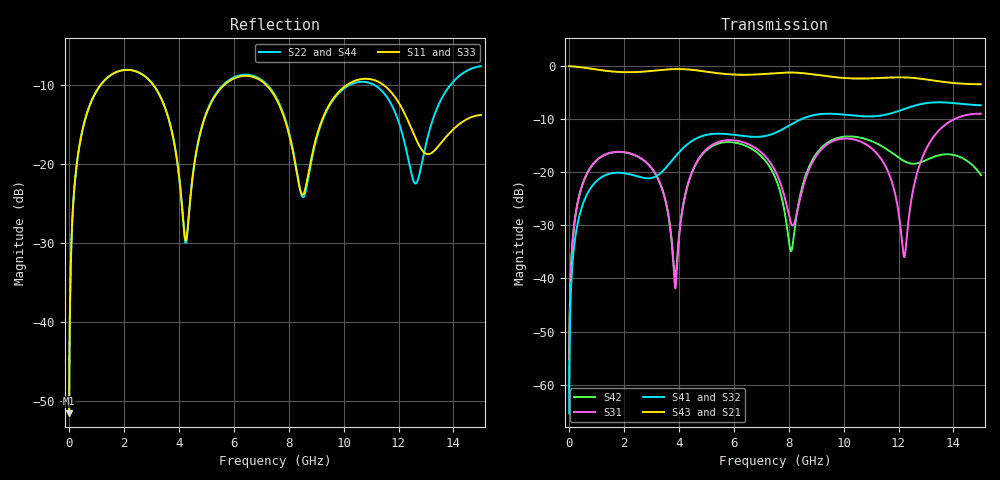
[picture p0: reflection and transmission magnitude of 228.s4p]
! Created with skrf 1.8.0 (http://scikit-rf.org).
# GHz S RI R 50.0
!freq ReS11 ImS11 ReS12 ImS12 ReS13 ImS13
! ReS14 ImS14
! ReS21 ImS21 ReS22 ImS22 ReS23 ImS23
! ReS24 ImS24
! ReS31 ImS31 ReS32 ImS32 ReS33 ImS33
! ReS34 ImS34
! ReS41 ImS41 ReS42 ImS42 ReS43 ImS43
! ReS44 ImS44
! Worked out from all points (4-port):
!   2499 points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, 5 MHz to 15 GHz, reference 50 ohm
!   strongest paths, dB at 5 MHz, 3.476 GHz, 7.19 GHz, 11.1 GHz, 15 GHz:
!     S43: 0.0, -0.7, -1.5, -2.3, -3.4
!     S21: 0.0, -0.7, -1.5, -2.3, -3.5
!     S41: -65.4, -19.4, -13.1, -9.5, -7.4
!     S32: -65.4, -19.5, -13.1, -9.5, -7.5
!     S31: -61.5, -24.5, -17.2, -15.9, -9.0
!     S42: -61.5, -24.6, -18.1, -14.3, -20.5
!   lowest |S11| = -51.6 dB at 5 MHz (marker M1), VSWR 1.01, Z = 50.2 + j0.16 ohm
!   |S11| at or under -10 dB: 3.065 GHz to 5.664 GHz (2.599 GHz wide, 59.5 % of centre); 7.171 GHz to 10.13 GHz (2.961 GHz wide, 34.2 % of centre); 11.44 GHz to end of sweep (the widest 3 of 4)
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0.005  0.0021 0.0016  0.9979 -0.00409  0.000107 0.000839  -0.000104 -0.000526
       0.9979 -0.00409  0.0021 0.0016  -0.000104 -0.000526  0.000107 0.000839
       0.000107 0.000839  -0.000104 -0.000526  0.0021 0.0016  0.9979 -0.00409
       -0.000104 -0.000526  0.000107 0.000839  0.9979 -0.00409  0.0021 0.0016
1.3193  0.2974 0.1648  0.4869 -0.7618  0.1375 0.0516  -0.0936 0.00412
        0.4869 -0.7618  0.2979 0.1644  -0.0936 0.00404  0.1365 0.0532
        0.1375 0.0516  -0.0936 0.00404  0.2975 0.1648  0.4869 -0.7618
        -0.0936 0.00412  0.1365 0.0532  0.4869 -0.7618  0.2979 0.1644
4.195498  0.0324 -0.0189  -0.9287 -0.1064  0.0017 0.055  -0.0153 0.1719
          -0.9287 -0.1064  0.0314 -0.0182  -0.0164 0.1718  -0.0031 0.0551
          0.0017 0.055  -0.0164 0.1718  0.0326 -0.02  -0.9286 -0.1068
          -0.0153 0.1719  -0.0031 0.0551  -0.9286 -0.1068  0.0315 -0.0194
8.516048  0.0636 -0.000302  0.8453 0.1455  -0.00634 0.0714  0.043 -0.3175
          0.8453 0.1455  0.0612 -0.00651  0.0469 -0.3168  0.00721 0.0763
          -0.00634 0.0714  0.0469 -0.3168  0.065 0.0016  0.8456 0.1441
          0.043 -0.3175  0.00721 0.0763  0.8456 0.1441  0.0589 -0.00563
11.29221  0.3173 -0.0842  -0.135 -0.7592  0.097 -0.1035  -0.3204 0.1138
          -0.135 -0.7592  0.2843 -0.0965  -0.3215 0.1063  0.0689 -0.1685
          0.097 -0.1035  -0.3215 0.1063  0.3146 -0.0899  -0.1375 -0.7596
          -0.3204 0.1138  0.0689 -0.1685  -0.1375 -0.7596  0.2816 -0.0907
12.21134  0.1711 -0.1212  -0.5913 -0.5117  0.0159 -0.000664  -0.2448 0.3089
          -0.5913 -0.5117  0.1111 -0.0821  -0.2517 0.3035  -0.1038 -0.0734
          0.0159 -0.000664  -0.2517 0.3035  0.1658 -0.1223  -0.5941 -0.5093
          -0.2448 0.3089  -0.1038 -0.0734  -0.5941 -0.5093  0.1124 -0.0766
15  0.201 0.0314  -0.2091 0.6379  0.2236 -0.2773  0.4213 0.0728
    -0.2091 0.6379  0.4143 -0.00328  0.416 0.0824  0.0908 0.0244
    0.2236 -0.2773  0.416 0.0824  0.1993 0.0183  -0.2057 0.6416
    0.4213 0.0728  0.0908 0.0244  -0.2057 0.6416  0.4054 -0.000463
